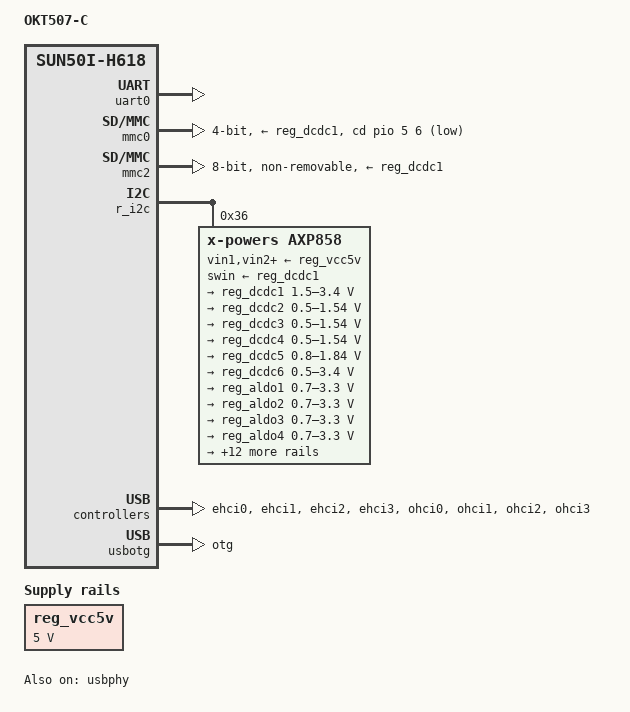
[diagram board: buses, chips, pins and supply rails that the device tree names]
// SPDX-License-Identifier: (GPL-2.0+ or MIT)
/*
 * Copyright (C) 2020 Arm Ltd.
 */

/dts-v1/;

#include "sun50i-h616.dtsi"

#include <dt-bindings/gpio/gpio.h>
#include <dt-bindings/interrupt-controller/arm-gic.h>
#include <dt-bindings/leds/common.h>

/ {
	model = "OKT507-C";
	compatible = "forlinx,okt507-c", "allwinner,sun50i-t507", "allwinner,sun50i-h618";

	aliases {
		serial0 = &uart0;
		mmc0 = &mmc0;
		mmc1 = &mmc1;
		mmc2 = &mmc2;
	};

	chosen {
		stdout-path = "serial0:115200n8";
	};

	sram_a1 {
		compatible = "allwinner,sram_a1";
		reg = <0x00 0x20000 0x00 0x8000>;
	};

	reg_vcc5v: vcc5v {
		/* board wide 5V supply directly from the DC input */
		compatible = "regulator-fixed";
		regulator-name = "vcc-5v";
		regulator-min-microvolt = <5000000>;
		regulator-max-microvolt = <5000000>;
		regulator-always-on;
	};
};

&cpu0 {
	cpu-supply = <&reg_dcdc2>;
};

&pio {
	vcc-pa-supply = <&reg_vcc5v>;
	vcc-pb-supply = <&reg_vcc5v>;
	vcc-pc-supply = <&reg_vcc5v>;
	vcc-pd-supply = <&reg_vcc5v>;
	vcc-pe-supply = <&reg_vcc5v>;
	vcc-pf-supply = <&reg_vcc5v>;
	vcc-pg-supply = <&reg_vcc5v>;
	vcc-ph-supply = <&reg_vcc5v>;
	vcc-pi-supply = <&reg_vcc5v>;
};

&uart0 {
	pinctrl-names = "default";
	pinctrl-0 = <&uart0_ph_pins>;
	status = "okay";
};

&mmc0 {
	cd-gpios = <&pio 5 6 GPIO_ACTIVE_LOW>;	/* PF6 */
	vmmc-supply = <&reg_dcdc1>;
	bus-width = <4>;
	status = "okay";
};

&mmc2 {
	vmmc-supply = <&reg_dcdc1>;
	vqmmc-supply = <&reg_aldo1>;
	bus-width = <8>;
	non-removable;
	cap-mmc-hw-reset;
	mmc-hs200-1_8v;
	status = "okay";
};

&r_i2c {
	status = "okay";

	axp858: pmic@36 {
		compatible = "x-powers,axp858";
		reg = <0x36>;
		//#interrupt-cells = <1>;
		//interrupt-controller;
		//interrupt-parent = <&nmi_intc>;
		//interrupts = <0 IRQ_TYPE_LEVEL_LOW>;
		wakeup_source;

		vin1-supply = <&reg_vcc5v>;
		vin2-supply = <&reg_vcc5v>;
		vin3-supply = <&reg_vcc5v>;
		vin4-supply = <&reg_vcc5v>;
		vin5-supply = <&reg_vcc5v>;
		vin6-supply = <&reg_vcc5v>;
		aldoin-supply = <&reg_vcc5v>;
		bldoin-supply = <&reg_vcc5v>;
		cldoin-supply = <&reg_vcc5v>;
		ips-supply = <&reg_vcc5v>;
		swin-supply = <&reg_dcdc1>;

		powerkey0: powerkey@0{
			status = "okay";
			compatible = "x-powers,axp858-pek";
			pmu_powkey_off_time = <6000>;
			pmu_powkey_off_func = <0>;
			pmu_powkey_off_en = <1>;
			pmu_powkey_long_time = <1500>;
			pmu_powkey_on_time = <1000>;
			wakeup_rising;
			wakeup_falling;
		};

		axp_gpio: gpio {
			compatible = "x-powers,axp858-gpio";
			gpio-controller;
			#gpio-cells = <2>;
		};

		regulator0: regulators{
			reg_dcdc1: dcdc1 {
				regulator-name = "axp858-dcdc1";
				regulator-min-microvolt = <1500000>;
				regulator-max-microvolt = <3400000>;
				regulator-step-delay-us = <25>;
				regulator-final-delay-us = <50>;
				regulator-always-on;
			};

			reg_dcdc2: dcdc2 {
				regulator-name = "axp858-dcdc2";
				regulator-min-microvolt = <500000>;
				regulator-max-microvolt = <1540000>;
				regulator-step-delay-us = <25>;
				regulator-final-delay-us = <50>;
				regulator-ramp-delay = <6001>; /* FIXME */
				regulator-always-on;
			};

			reg_dcdc3: dcdc3 {
				regulator-name = "axp858-dcdc3";
				regulator-min-microvolt = <500000>;
				regulator-max-microvolt = <1540000>;
				regulator-step-delay-us = <25>;
				regulator-final-delay-us = <50>;
				regulator-always-on;
			};

			reg_dcdc4: dcdc4 {
				regulator-name = "axp858-dcdc4";
				regulator-min-microvolt = <500000>;
				regulator-max-microvolt = <1540000>;
				regulator-step-delay-us = <25>;
				regulator-final-delay-us = <50>;
				regulator-enable-ramp-delay = <1000>;
			};

			reg_dcdc5: dcdc5 {
				regulator-name = "axp858-dcdc5";
				regulator-min-microvolt = <800000>;
				regulator-max-microvolt = <1840000>;
				regulator-step-delay-us = <25>;
				regulator-final-delay-us = <50>;
				regulator-always-on;
			};

			reg_dcdc6: dcdc6 {
				regulator-name = "axp858-dcdc6";
				regulator-min-microvolt = <500000>;
				regulator-max-microvolt = <3400000>;
				regulator-step-delay-us = <25>;
				regulator-final-delay-us = <50>;
			};

			reg_aldo1: aldo1 {
				regulator-name = "axp858-aldo1";
				regulator-min-microvolt = <700000>;
				regulator-max-microvolt = <3300000>;
				regulator-step-delay-us = <25>;
				regulator-final-delay-us = <50>;
				regulator-always-on;
			};

			reg_aldo2: aldo2 {
				regulator-name = "axp858-aldo2";
				regulator-min-microvolt = <700000>;
				regulator-max-microvolt = <3300000>;
				regulator-step-delay-us = <25>;
				regulator-final-delay-us = <50>;
				regulator-always-on;
			};

			reg_aldo3: aldo3 {
				regulator-name = "axp858-aldo3";
				regulator-min-microvolt = <700000>;
				regulator-max-microvolt = <3300000>;
				regulator-step-delay-us = <25>;
				regulator-final-delay-us = <50>;
			};

			reg_aldo4: aldo4 {
				regulator-name = "axp858-aldo4";
				regulator-min-microvolt = <700000>;
				regulator-max-microvolt = <3300000>;
				regulator-step-delay-us = <25>;
				regulator-final-delay-us = <50>;
				regulator-always-on;
			};

			reg_aldo5: aldo5 {
				regulator-name = "axp858-aldo5";
				regulator-min-microvolt = <700000>;
				regulator-max-microvolt = <3300000>;
				regulator-step-delay-us = <25>;
				regulator-final-delay-us = <50>;
				regulator-always-on;
			};

			reg_bldo1: bldo1 {
				regulator-name = "axp858-bldo1";
				regulator-min-microvolt = <700000>;
				regulator-max-microvolt = <3300000>;
				regulator-step-delay-us = <25>;
				regulator-final-delay-us = <50>;
				regulator-always-on;
			};

			reg_bldo2: bldo2 {
				regulator-name = "axp858-bldo2";
				regulator-min-microvolt = <700000>;
				regulator-max-microvolt = <3300000>;
				regulator-step-delay-us = <25>;
				regulator-final-delay-us = <50>;
			};

			reg_bldo3: bldo3 {
				regulator-name = "axp858-bldo3";
				regulator-min-microvolt = <700000>;
				regulator-max-microvolt = <3300000>;
				regulator-step-delay-us = <25>;
				regulator-final-delay-us = <50>;
			};

			reg_bldo4: bldo4 {
				regulator-name = "axp858-bldo4";
				regulator-min-microvolt = <700000>;
				regulator-max-microvolt = <3300000>;
				regulator-step-delay-us = <25>;
				regulator-final-delay-us = <50>;
			};

			reg_bldo5: bldo5 {
				regulator-name = "axp858-bldo5";
				regulator-min-microvolt = <700000>;
				regulator-max-microvolt = <3300000>;
				regulator-step-delay-us = <25>;
				regulator-final-delay-us = <50>;
			};

			reg_cldo1: cldo1 {
				regulator-name = "axp858-cldo1";
				regulator-min-microvolt = <700000>;
				regulator-max-microvolt = <3300000>;
				regulator-step-delay-us = <25>;
				regulator-final-delay-us = <50>;
			};

			reg_cldo2: cldo2 {
				regulator-name = "axp858-cldo2";
				regulator-min-microvolt = <700000>;
				regulator-max-microvolt = <3300000>;
				regulator-step-delay-us = <25>;
				regulator-final-delay-us = <50>;
				regulator-always-on;
			};

			reg_cldo3: cldo3 {
				regulator-name = "axp858-cldo3";
				regulator-min-microvolt = <700000>;
				regulator-max-microvolt = <3300000>;
				regulator-step-delay-us = <25>;
				regulator-final-delay-us = <50>;
				regulator-always-on;
			};

			reg_cldo4: cldo4 {
				regulator-name = "axp858-cldo4";
				regulator-min-microvolt = <700000>;
				regulator-max-microvolt = <4200000>;
				regulator-step-delay-us = <25>;
				regulator-final-delay-us = <50>;
			};

			reg_cpusldo: cpusldo {
				regulator-name = "axp858-cpusldo";
				regulator-min-microvolt = <700000>;
				regulator-max-microvolt = <1400000>;
				regulator-step-delay-us = <25>;
				regulator-final-delay-us = <50>;
			};

			reg_sw: sw {
				regulator-name = "axp858-sw";
			};
		};

		virtual-dcdc1 {
			compatible = "xpower-vregulator,dcdc1";
			dcdc1-supply = <&reg_dcdc1>;
		};

		virtual-dcdc2 {
			compatible = "xpower-vregulator,dcdc2";
			dcdc2-supply = <&reg_dcdc2>;
		};

		virtual-dcdc3 {
			compatible = "xpower-vregulator,dcdc3";
			dcdc3-supply = <&reg_dcdc3>;
		};

		virtual-dcdc4 {
			compatible = "xpower-vregulator,dcdc4";
			dcdc4-supply = <&reg_dcdc4>;
		};

		virtual-dcdc5 {
			compatible = "xpower-vregulator,dcdc5";
			dcdc5-supply = <&reg_dcdc5>;
		};

		virtual-dcdc6 {
			compatible = "xpower-vregulator,dcdc6";
			dcdc6-supply = <&reg_dcdc6>;
		};

		virtual-aldo1 {
			compatible = "xpower-vregulator,aldo1";
			aldo1-supply = <&reg_aldo1>;
		};

		virtual-aldo2 {
			compatible = "xpower-vregulator,aldo2";
			aldo2-supply = <&reg_aldo2>;
		};

		virtual-aldo3 {
			compatible = "xpower-vregulator,aldo3";
			aldo3-supply = <&reg_aldo3>;
		};

		virtual-aldo4 {
			compatible = "xpower-vregulator,aldo4";
			aldo4-supply = <&reg_aldo4>;
		};

		virtual-aldo5 {
			compatible = "xpower-vregulator,aldo5";
			aldo5-supply = <&reg_aldo5>;
		};

		virtual-bldo1 {
			compatible = "xpower-vregulator,bldo1";
			bldo1-supply = <&reg_bldo1>;
		};

		virtual-bldo2 {
			compatible = "xpower-vregulator,bldo2";
			bldo2-supply = <&reg_bldo2>;
		};

		virtual-bldo3 {
			compatible = "xpower-vregulator,bldo3";
			bldo3-supply = <&reg_bldo3>;
		};

		virtual-bldo4 {
			compatible = "xpower-vregulator,bldo4";
			bldo4-supply = <&reg_bldo4>;
		};

		virtual-bldo5 {
			compatible = "xpower-vregulator,bldo5";
			bldo5-supply = <&reg_bldo5>;
		};

		virtual-cldo1 {
			compatible = "xpower-vregulator,cldo1";
			cldo1-supply = <&reg_cldo1>;
		};

		virtual-cldo2 {
			compatible = "xpower-vregulator,cldo2";
			cldo2-supply = <&reg_cldo2>;
		};

		virtual-cldo3 {
			compatible = "xpower-vregulator,cldo3";
			cldo3-supply = <&reg_cldo3>;
		};

		virtual-cldo4 {
			compatible = "xpower-vregulator,cldo4";
			cldo4-supply = <&reg_cldo4>;
		};
	};
};

&ehci0 {
	status = "okay";
};

&ehci1 {
	status = "okay";
};

&ehci2 {
	status = "okay";
};

&ehci3 {
	status = "okay";
};

&ohci0 {
	status = "okay";
};

&ohci1 {
	status = "okay";
};

&ohci2 {
	status = "okay";
};

&ohci3 {
	status = "okay";
};

&usbotg {
	dr_mode = "otg";
	status = "okay";
};

&usbphy {
	status = "okay";
};
